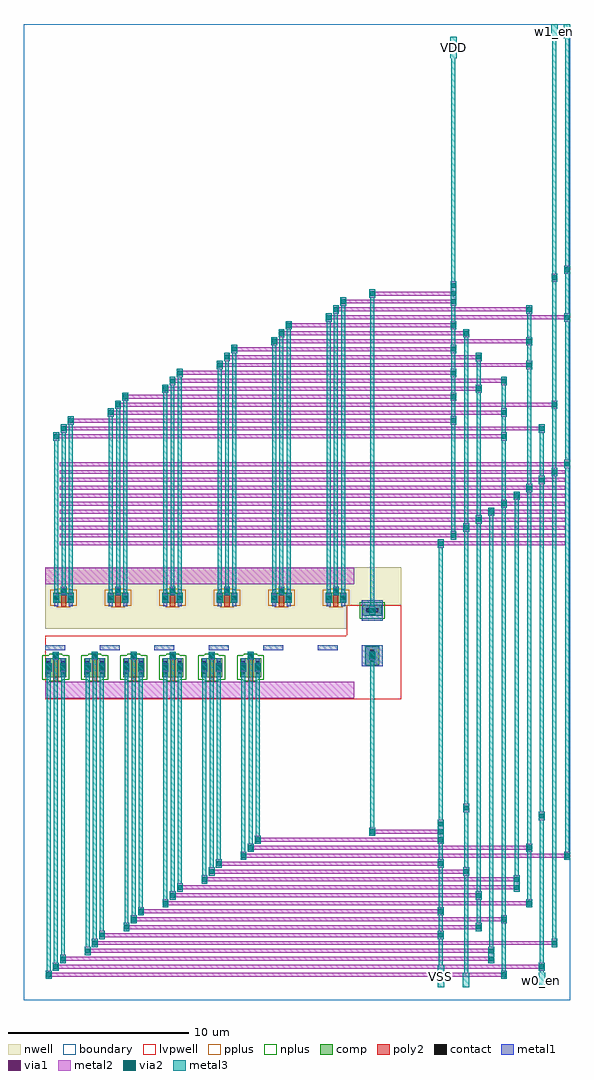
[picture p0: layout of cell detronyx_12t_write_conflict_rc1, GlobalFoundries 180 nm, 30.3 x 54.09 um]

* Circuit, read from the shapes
.subckt detronyx_12t_write_conflict_rc1 VDD VSS addr_eq w0_en w1_en write_conflict
XM1 n1 w0_en n2 VSS nfet_03v3 w=1.055u l=0.28u
XM2 VSS w1_en n1 VSS nfet_03v3 w=1.055u l=0.28u
XM3 VSS n2 n3 VSS nfet_03v3 w=1.055u l=0.28u
XM4 n4 n3 n5 VSS nfet_03v3 w=1.055u l=0.28u
XM5 VSS addr_eq n4 VSS nfet_03v3 w=1.055u l=0.28u
XM6 VSS n5 write_conflict VSS nfet_03v3 w=1.055u l=0.28u
XM7 VDD w0_en n2 VDD pfet_03v3 w=0.56u l=0.2779u
XM8 VDD w1_en n2 VDD pfet_03v3 w=0.56u l=0.2779u
XM9 VDD n2 n3 VDD pfet_03v3 w=0.56u l=0.2779u
XM10 VDD n3 n5 VDD pfet_03v3 w=0.56u l=0.2779u
XM11 VDD addr_eq n5 VDD pfet_03v3 w=0.56u l=0.2779u
XM12 VDD n5 write_conflict VDD pfet_03v3 w=0.56u l=0.2779u
.ends

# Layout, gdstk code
import gdstk
lib = gdstk.Library(unit=1e-6, precision=1e-09)
def R(c, l, rs):  # rectangles x0, y0, x1, y1
    for r in rs: c.add(gdstk.rectangle(r[:2], r[2:], *l))
def A(c, l, x, y, w, h, nx, ny, dx, dy):  # array of equal rectangles
    R(c, l, [(x+i*dx, y+j*dy, x+i*dx+w, y+j*dy+h) for i in range(nx) for j in range(ny)])
boundary = (0, 0)
nwell = (21, 0)
comp = (22, 0)
poly2 = (30, 0)
pplus = (31, 0)
nplus = (32, 0)
contact = (33, 0)
metal1 = (34, 0)
via1 = (35, 0)
metal2 = (36, 0)
via2 = (38, 0)
metal3 = (42, 0)
lvpwell = (204, 0)

detronyx_12t_write_confl = lib.new_cell('detronyx_12t_write_conflict_rc1')
R(detronyx_12t_write_confl, boundary, [(0,0,30.3,54.095)])
R(detronyx_12t_write_confl, nwell, [(1.2,20.575,17.92,21.88), (18.795,21.295,19.845,21.88), (1.2,21.88,20.92,23.995)])
A(detronyx_12t_write_confl, comp, 1.2, 17.9, 1.16, 1.055, 6, 1, 2.16, 0)
A(detronyx_12t_write_confl, comp, 1.63, 22.005, 1.16, 0.555, 6, 1, 3.02, 0)
R(detronyx_12t_write_confl, comp, [(18.945,18.555,19.695,19.605), (18.795,21.295,19.845,21.895), (1.63,22.56,2.095,22.565), (2.325,22.56,2.79,22.565), (4.65,22.56,5.115,22.565), (5.345,22.56,5.81,22.565), (7.67,22.56,8.135,22.565), (8.365,22.56,8.83,22.565), (10.69,22.56,11.155,22.565), (11.385,22.56,11.85,22.565), (13.71,22.56,14.175,22.565), (14.405,22.56,14.87,22.565), (16.73,22.56,17.195,22.565), (17.425,22.56,17.89,22.565)])
A(detronyx_12t_write_confl, poly2, 1.64, 17.68, 0.28, 1.55, 6, 1, 2.16, 0)
A(detronyx_12t_write_confl, poly2, 2.07, 21.785, 0.28, 1.04, 6, 1, 3.02, 0)
A(detronyx_12t_write_confl, pplus, 1.84, 21.775, 0.74, 0.07, 6, 2, 3.02, 0.95)
A(detronyx_12t_write_confl, pplus, 1.47, 21.845, 1.48, 0.88, 6, 1, 3.02, 0)
R(detronyx_12t_write_confl, pplus, [(18.925,18.535,19.715,19.625)])
A(detronyx_12t_write_confl, nplus, 1.41, 17.67, 0.74, 0.07, 6, 2, 2.16, 1.445)
A(detronyx_12t_write_confl, nplus, 1.04, 17.74, 1.48, 1.375, 6, 1, 2.16, 0)
R(detronyx_12t_write_confl, nplus, [(18.635,21.135,20.005,22.055)])
A(detronyx_12t_write_confl, contact, 1.67, 18.97, 0.22, 0.22, 6, 1, 2.16, 0)
A(detronyx_12t_write_confl, contact, 2.1, 22.565, 0.22, 0.22, 6, 1, 3.02, 0)
R(detronyx_12t_write_confl, contact, [(1.27,18.08,1.49,18.3), (2.07,18.08,2.29,18.3), (3.43,18.08,3.65,18.3), (4.23,18.08,4.45,18.3), (5.59,18.08,5.81,18.3), (6.39,18.08,6.61,18.3), (7.75,18.08,7.97,18.3), (8.55,18.08,8.77,18.3), (9.91,18.08,10.13,18.3), (10.71,18.08,10.93,18.3), (12.07,18.08,12.29,18.3), (12.87,18.08,13.09,18.3), (1.27,18.55,1.49,18.77), (2.07,18.55,2.29,18.77), (3.43,18.55,3.65,18.77), (4.23,18.55,4.45,18.77), (5.59,18.55,5.81,18.77), (6.39,18.55,6.61,18.77), (7.75,18.55,7.97,18.77), (8.55,18.55,8.77,18.77), (9.91,18.55,10.13,18.77), (10.71,18.55,10.93,18.77), (12.07,18.55,12.29,18.77), (12.87,18.55,13.09,18.77), (19.21,18.735,19.43,18.955), (19.21,19.205,19.43,19.425), (18.975,21.485,19.195,21.705), (19.445,21.485,19.665,21.705), (1.7,22.175,1.92,22.395), (2.5,22.175,2.72,22.395), (4.72,22.175,4.94,22.395), (5.52,22.175,5.74,22.395), (7.74,22.175,7.96,22.395), (8.54,22.175,8.76,22.395), (10.76,22.175,10.98,22.395), (11.56,22.175,11.78,22.395), (13.78,22.175,14,22.395), (14.58,22.175,14.8,22.395), (16.8,22.175,17.02,22.395), (17.6,22.175,17.82,22.395)])
A(detronyx_12t_write_confl, metal1, 1.62, 18.85, 0.325, 0.46, 6, 1, 2.16, 0)
A(detronyx_12t_write_confl, metal1, 1.2, 19.375, 1.1, 0.28, 6, 1, 3.02, 0)
A(detronyx_12t_write_confl, metal1, 2.05, 22.445, 0.325, 0.46, 6, 1, 3.02, 0)
R(detronyx_12t_write_confl, metal1, [(1.265,17.9,1.495,18.195), (2.065,17.9,2.295,18.195), (3.425,17.9,3.655,18.195), (4.225,17.9,4.455,18.195), (5.585,17.9,5.815,18.195), (6.385,17.9,6.615,18.195), (7.745,17.9,7.975,18.195), (8.545,17.9,8.775,18.195), (9.905,17.9,10.135,18.195), (10.705,17.9,10.935,18.195), (12.065,17.9,12.295,18.195), (12.865,17.9,13.095,18.195), (1.22,18.195,1.545,18.655), (2.02,18.195,2.345,18.655), (3.38,18.195,3.705,18.655), (4.18,18.195,4.505,18.655), (5.54,18.195,5.865,18.655), (6.34,18.195,6.665,18.655), (7.7,18.195,8.025,18.655), (8.5,18.195,8.825,18.655), (9.86,18.195,10.185,18.655), (10.66,18.195,10.985,18.655), (12.02,18.195,12.345,18.655), (12.82,18.195,13.145,18.655), (18.745,18.505,19.895,19.655), (1.265,18.655,1.495,18.955), (2.065,18.655,2.295,18.955), (3.425,18.655,3.655,18.955), (4.225,18.655,4.455,18.955), (5.585,18.655,5.815,18.955), (6.385,18.655,6.615,18.955), (7.745,18.655,7.975,18.955), (8.545,18.655,8.775,18.955), (9.905,18.655,10.135,18.955), (10.705,18.655,10.935,18.955), (12.065,18.655,12.295,18.955), (12.865,18.655,13.095,18.955), (18.745,21.02,19.895,22.17), (1.695,21.81,1.925,22.055), (2.495,21.81,2.725,22.055), (4.715,21.81,4.945,22.055), (5.515,21.81,5.745,22.055), (7.735,21.81,7.965,22.055), (8.535,21.81,8.765,22.055), (10.755,21.81,10.985,22.055), (11.555,21.81,11.785,22.055), (13.775,21.81,14.005,22.055), (14.575,21.81,14.805,22.055), (16.795,21.81,17.025,22.055), (17.595,21.81,17.825,22.055), (1.65,22.055,1.975,22.515), (2.45,22.055,2.775,22.515), (4.67,22.055,4.995,22.515), (5.47,22.055,5.795,22.515), (7.69,22.055,8.015,22.515), (8.49,22.055,8.815,22.515), (10.71,22.055,11.035,22.515), (11.51,22.055,11.835,22.515), (13.73,22.055,14.055,22.515), (14.53,22.055,14.855,22.515), (16.75,22.055,17.075,22.515), (17.55,22.055,17.875,22.515), (1.695,22.515,1.925,22.76), (2.495,22.515,2.725,22.76), (4.715,22.515,4.945,22.76), (5.515,22.515,5.745,22.76), (7.735,22.515,7.965,22.76), (8.535,22.515,8.765,22.76), (10.755,22.515,10.985,22.76), (11.555,22.515,11.785,22.76), (13.775,22.515,14.005,22.76), (14.575,22.515,14.805,22.76), (16.795,22.515,17.025,22.76), (17.595,22.515,17.825,22.76)])
A(detronyx_12t_write_confl, via1, 1.65, 18.95, 0.26, 0.26, 6, 1, 2.16, 0)
A(detronyx_12t_write_confl, via1, 2.08, 22.545, 0.26, 0.26, 6, 1, 3.02, 0)
R(detronyx_12t_write_confl, via1, [(1.25,18.295,1.51,18.555), (2.05,18.295,2.31,18.555), (3.41,18.295,3.67,18.555), (4.21,18.295,4.47,18.555), (5.57,18.295,5.83,18.555), (6.37,18.295,6.63,18.555), (7.73,18.295,7.99,18.555), (8.53,18.295,8.79,18.555), (9.89,18.295,10.15,18.555), (10.69,18.295,10.95,18.555), (12.05,18.295,12.31,18.555), (12.85,18.295,13.11,18.555), (19.19,18.95,19.45,19.21), (19.19,21.465,19.45,21.725), (1.68,22.155,1.94,22.415), (2.48,22.155,2.74,22.415), (4.7,22.155,4.96,22.415), (5.5,22.155,5.76,22.415), (7.72,22.155,7.98,22.415), (8.52,22.155,8.78,22.415), (10.74,22.155,11,22.415), (11.54,22.155,11.8,22.415), (13.76,22.155,14.02,22.415), (14.56,22.155,14.82,22.415), (16.78,22.155,17.04,22.415), (17.58,22.155,17.84,22.415)])
A(detronyx_12t_write_confl, metal2, 1.62, 18.85, 0.325, 0.46, 6, 1, 2.16, 0)
A(detronyx_12t_write_confl, metal2, 2.05, 22.445, 0.325, 0.46, 6, 1, 3.02, 0)
A(detronyx_12t_write_confl, metal2, 2, 25.195, 28.02, 0.22, 1, 10, 0, 0.44)
R(detronyx_12t_write_confl, metal2, [(1.22,1.17,1.545,1.29), (26.46,1.17,26.785,1.29), (1.22,1.29,26.785,1.51), (1.22,1.51,1.545,1.63), (26.46,1.51,26.785,1.63), (1.62,1.61,1.945,1.73), (28.56,1.61,28.885,1.73), (1.62,1.73,28.885,1.95), (1.62,1.95,1.945,2.07), (28.56,1.95,28.885,2.07), (2.02,2.05,2.345,2.17), (25.76,2.05,26.085,2.17), (2.02,2.17,26.085,2.39), (2.02,2.39,2.345,2.51), (25.76,2.39,26.085,2.61), (3.38,2.49,3.705,2.61), (3.38,2.61,26.085,2.83), (3.38,2.83,3.705,2.95), (25.76,2.83,26.085,2.95), (3.78,2.93,4.105,3.05), (29.26,2.93,29.585,3.05), (3.78,3.05,29.585,3.27), (3.78,3.27,4.105,3.39), (29.26,3.27,29.585,3.39), (4.18,3.37,4.505,3.49), (22.96,3.37,23.285,3.49), (4.18,3.49,23.285,3.71), (4.18,3.71,4.505,3.83), (22.96,3.71,23.285,3.83), (5.54,3.81,5.865,3.93), (25.06,3.81,25.385,3.93), (5.54,3.93,25.385,4.15), (5.54,4.15,5.865,4.27), (25.06,4.15,25.385,4.27), (5.94,4.25,6.265,4.37), (26.46,4.25,26.785,4.37), (5.94,4.37,26.785,4.59), (5.94,4.59,6.265,4.71), (26.46,4.59,26.785,4.71), (6.34,4.69,6.665,4.81), (22.96,4.69,23.285,4.81), (6.34,4.81,23.285,5.03), (6.34,5.03,6.665,5.15), (22.96,5.03,23.285,5.15), (7.7,5.13,8.025,5.25), (27.86,5.13,28.185,5.25), (7.7,5.25,28.185,5.47), (7.7,5.47,8.025,5.59), (27.86,5.47,28.185,5.59), (8.1,5.57,8.425,5.69), (25.06,5.57,25.385,5.69), (8.1,5.69,25.385,5.91), (8.1,5.91,8.425,6.03), (25.06,5.91,25.385,6.03), (8.5,6.01,8.825,6.13), (27.16,6.01,27.485,6.13), (8.5,6.13,27.485,6.35), (8.5,6.35,8.825,6.47), (27.16,6.35,27.485,6.57), (9.86,6.45,10.185,6.57), (9.86,6.57,27.485,6.79), (9.86,6.79,10.185,6.91), (27.16,6.79,27.485,6.91), (10.26,6.89,10.585,7.01), (24.36,6.89,24.685,7.01), (10.26,7.01,24.685,7.23), (10.26,7.23,10.585,7.35), (24.36,7.23,24.685,7.35), (10.66,7.33,10.985,7.45), (22.96,7.33,23.285,7.45), (10.66,7.45,23.285,7.67), (10.66,7.67,10.985,7.79), (22.96,7.67,23.285,7.79), (12.02,7.77,12.345,7.89), (29.96,7.77,30.285,7.89), (12.02,7.89,30.285,8.11), (12.02,8.11,12.345,8.23), (29.96,8.11,30.285,8.23), (12.42,8.21,12.745,8.33), (27.86,8.21,28.185,8.33), (12.42,8.33,28.185,8.55), (12.42,8.55,12.745,8.67), (27.86,8.55,28.185,8.67), (12.82,8.65,13.145,8.77), (22.96,8.65,23.285,8.77), (12.82,8.77,23.285,8.99), (12.82,8.99,13.145,9.11), (22.96,8.99,23.285,9.21), (19.16,9.09,19.485,9.21), (19.16,9.21,23.285,9.43), (19.16,9.43,19.485,9.55), (22.96,9.43,23.285,9.99), (28.56,9.97,28.885,10.43), (24.36,10.41,24.685,10.87), (1.2,16.73,18.32,17.63), (1.22,18.195,1.545,18.655), (2.02,18.195,2.345,18.655), (3.38,18.195,3.705,18.655), (4.18,18.195,4.505,18.655), (5.54,18.195,5.865,18.655), (6.34,18.195,6.665,18.655), (7.7,18.195,8.025,18.655), (8.5,18.195,8.825,18.655), (9.86,18.195,10.185,18.655), (10.66,18.195,10.985,18.655), (12.02,18.195,12.345,18.655), (12.82,18.195,13.145,18.655), (19.16,18.85,19.485,19.31), (19.16,21.365,19.485,21.825), (1.65,22.055,1.975,22.515), (2.45,22.055,2.775,22.515), (4.67,22.055,4.995,22.515), (5.47,22.055,5.795,22.515), (7.69,22.055,8.015,22.515), (8.49,22.055,8.815,22.515), (10.71,22.055,11.035,22.515), (11.51,22.055,11.835,22.515), (13.73,22.055,14.055,22.515), (14.53,22.055,14.855,22.515), (16.75,22.055,17.075,22.515), (17.55,22.055,17.875,22.515), (1.2,23.045,18.32,23.945), (22.96,25.075,23.285,25.195), (22.96,25.415,23.285,25.535), (23.66,25.515,23.985,25.635), (23.66,25.855,23.985,25.975), (24.36,25.955,24.685,26.075), (24.36,26.295,24.685,26.415), (25.06,26.395,25.385,26.515), (25.06,26.735,25.385,26.855), (25.76,26.835,26.085,26.955), (25.76,27.175,26.085,27.295), (26.46,27.275,26.785,27.395), (26.46,27.615,26.785,27.735), (27.16,27.715,27.485,27.835), (27.16,28.055,27.485,28.175), (27.86,28.155,28.185,28.275), (27.86,28.495,28.185,28.615), (28.56,28.595,28.885,28.715), (28.56,28.935,28.885,29.055), (29.26,29.035,29.585,29.155), (29.26,29.375,29.585,29.495), (29.96,29.475,30.285,29.595), (2,29.595,30.285,29.815), (29.96,29.815,30.285,29.935), (1.65,31.005,1.975,31.125), (26.46,31.005,26.785,31.125), (1.65,31.125,26.785,31.345), (1.65,31.345,1.975,31.465), (26.46,31.345,26.785,31.465), (2.05,31.445,2.375,31.565), (28.56,31.445,28.885,31.565), (2.05,31.565,28.885,31.785), (2.05,31.785,2.375,31.905), (28.56,31.785,28.885,31.905), (2.45,31.885,2.775,32.005), (23.66,31.885,23.985,32.005), (2.45,32.005,23.985,32.225), (2.45,32.225,2.775,32.345), (23.66,32.225,23.985,32.345), (4.67,32.325,4.995,32.445), (26.46,32.325,26.785,32.445), (4.67,32.445,26.785,32.665), (4.67,32.665,4.995,32.785), (26.46,32.665,26.785,32.785), (5.07,32.765,5.395,32.885), (29.26,32.765,29.585,32.885), (5.07,32.885,29.585,33.105), (5.07,33.105,5.395,33.225), (29.26,33.105,29.585,33.225), (5.47,33.205,5.795,33.325), (23.66,33.205,23.985,33.325), (5.47,33.325,23.985,33.545), (5.47,33.545,5.795,33.665), (23.66,33.545,23.985,33.665), (7.69,33.645,8.015,33.765), (25.06,33.645,25.385,33.765), (7.69,33.765,25.385,33.985), (7.69,33.985,8.015,34.105), (25.06,33.985,25.385,34.105), (8.09,34.085,8.415,34.205), (26.46,34.085,26.785,34.205), (8.09,34.205,26.785,34.425), (8.09,34.425,8.415,34.545), (26.46,34.425,26.785,34.545), (8.49,34.525,8.815,34.645), (23.66,34.525,23.985,34.645), (8.49,34.645,23.985,34.865), (8.49,34.865,8.815,34.985), (23.66,34.865,23.985,34.985), (10.71,34.965,11.035,35.085), (27.86,34.965,28.185,35.085), (10.71,35.085,28.185,35.305), (10.71,35.305,11.035,35.425), (27.86,35.305,28.185,35.425), (11.11,35.405,11.435,35.525), (25.06,35.405,25.385,35.525), (11.11,35.525,25.385,35.745), (11.11,35.745,11.435,35.865), (25.06,35.745,25.385,35.865), (11.51,35.845,11.835,35.965), (23.66,35.845,23.985,35.965), (11.51,35.965,23.985,36.185), (11.51,36.185,11.835,36.305), (23.66,36.185,23.985,36.305), (13.73,36.285,14.055,36.405), (27.86,36.285,28.185,36.405), (13.73,36.405,28.185,36.625), (13.73,36.625,14.055,36.745), (27.86,36.625,28.185,36.745), (14.13,36.725,14.455,36.845), (24.36,36.725,24.685,36.845), (14.13,36.845,24.685,37.065), (14.13,37.065,14.455,37.185), (24.36,37.065,24.685,37.185), (14.53,37.165,14.855,37.285), (23.66,37.165,23.985,37.285), (14.53,37.285,23.985,37.505), (14.53,37.505,14.855,37.625), (23.66,37.505,23.985,37.625), (16.75,37.605,17.075,37.725), (29.96,37.605,30.285,37.725), (16.75,37.725,30.285,37.945), (16.75,37.945,17.075,38.065), (29.96,37.945,30.285,38.065), (17.15,38.045,17.475,38.165), (27.86,38.045,28.185,38.165), (17.15,38.165,28.185,38.385), (17.15,38.385,17.475,38.505), (27.86,38.385,28.185,38.505), (17.55,38.485,17.875,38.605), (23.66,38.485,23.985,38.605), (17.55,38.605,23.985,38.825), (17.55,38.825,17.875,38.945), (23.66,38.825,23.985,39.045), (19.16,38.925,19.485,39.045), (19.16,39.045,23.985,39.265), (19.16,39.265,19.485,39.385), (23.66,39.265,23.985,39.825), (29.26,39.805,29.585,40.265), (29.96,40.245,30.285,40.705)])
A(detronyx_12t_write_confl, via2, 22.99, 8.75, 0.26, 0.26, 1, 3, 0, 0.44)
A(detronyx_12t_write_confl, via2, 1.65, 18.95, 0.26, 0.26, 6, 1, 2.16, 0)
A(detronyx_12t_write_confl, via2, 2.08, 22.545, 0.26, 0.26, 6, 1, 3.02, 0)
A(detronyx_12t_write_confl, via2, 23.69, 31.985, 0.26, 0.26, 1, 6, 0, 1.32)
R(detronyx_12t_write_confl, via2, [(1.25,1.27,1.51,1.53), (26.49,1.27,26.75,1.53), (1.65,1.71,1.91,1.97), (28.59,1.71,28.85,1.97), (2.05,2.15,2.31,2.41), (25.79,2.15,26.05,2.41), (3.41,2.59,3.67,2.85), (25.79,2.59,26.05,2.85), (3.81,3.03,4.07,3.29), (29.29,3.03,29.55,3.29), (4.21,3.47,4.47,3.73), (22.99,3.47,23.25,3.73), (5.57,3.91,5.83,4.17), (25.09,3.91,25.35,4.17), (5.97,4.35,6.23,4.61), (26.49,4.35,26.75,4.61), (6.37,4.79,6.63,5.05), (22.99,4.79,23.25,5.05), (7.73,5.23,7.99,5.49), (27.89,5.23,28.15,5.49), (8.13,5.67,8.39,5.93), (25.09,5.67,25.35,5.93), (8.53,6.11,8.79,6.37), (27.19,6.11,27.45,6.37), (9.89,6.55,10.15,6.81), (27.19,6.55,27.45,6.81), (10.29,6.99,10.55,7.25), (24.39,6.99,24.65,7.25), (10.69,7.43,10.95,7.69), (22.99,7.43,23.25,7.69), (12.05,7.87,12.31,8.13), (29.99,7.87,30.25,8.13), (12.45,8.31,12.71,8.57), (27.89,8.31,28.15,8.57), (12.85,8.75,13.11,9.01), (19.19,9.19,19.45,9.45), (28.59,10.07,28.85,10.33), (24.39,10.51,24.65,10.77), (1.25,18.295,1.51,18.555), (2.05,18.295,2.31,18.555), (3.41,18.295,3.67,18.555), (4.21,18.295,4.47,18.555), (5.57,18.295,5.83,18.555), (6.37,18.295,6.63,18.555), (7.73,18.295,7.99,18.555), (8.53,18.295,8.79,18.555), (9.89,18.295,10.15,18.555), (10.69,18.295,10.95,18.555), (12.05,18.295,12.31,18.555), (12.85,18.295,13.11,18.555), (19.19,18.95,19.45,19.21), (19.19,21.465,19.45,21.725), (1.68,22.155,1.94,22.415), (2.48,22.155,2.74,22.415), (4.7,22.155,4.96,22.415), (5.5,22.155,5.76,22.415), (7.72,22.155,7.98,22.415), (8.52,22.155,8.78,22.415), (10.74,22.155,11,22.415), (11.54,22.155,11.8,22.415), (13.76,22.155,14.02,22.415), (14.56,22.155,14.82,22.415), (16.78,22.155,17.04,22.415), (17.58,22.155,17.84,22.415), (22.99,25.175,23.25,25.435), (23.69,25.615,23.95,25.875), (24.39,26.055,24.65,26.315), (25.09,26.495,25.35,26.755), (25.79,26.935,26.05,27.195), (26.49,27.375,26.75,27.635), (27.19,27.815,27.45,28.075), (27.89,28.255,28.15,28.515), (28.59,28.695,28.85,28.955), (29.29,29.135,29.55,29.395), (29.99,29.575,30.25,29.835), (1.68,31.105,1.94,31.365), (26.49,31.105,26.75,31.365), (2.08,31.545,2.34,31.805), (28.59,31.545,28.85,31.805), (2.48,31.985,2.74,32.245), (4.7,32.425,4.96,32.685), (26.49,32.425,26.75,32.685), (5.1,32.865,5.36,33.125), (29.29,32.865,29.55,33.125), (5.5,33.305,5.76,33.565), (7.72,33.745,7.98,34.005), (25.09,33.745,25.35,34.005), (8.12,34.185,8.38,34.445), (26.49,34.185,26.75,34.445), (8.52,34.625,8.78,34.885), (10.74,35.065,11,35.325), (27.89,35.065,28.15,35.325), (11.14,35.505,11.4,35.765), (25.09,35.505,25.35,35.765), (11.54,35.945,11.8,36.205), (13.76,36.385,14.02,36.645), (27.89,36.385,28.15,36.645), (14.16,36.825,14.42,37.085), (24.39,36.825,24.65,37.085), (14.56,37.265,14.82,37.525), (16.78,37.705,17.04,37.965), (29.99,37.705,30.25,37.965), (17.18,38.145,17.44,38.405), (27.89,38.145,28.15,38.405), (17.58,38.585,17.84,38.845), (19.19,39.025,19.45,39.285), (23.69,39.025,23.95,39.285), (23.69,39.465,23.95,39.725), (29.29,39.905,29.55,40.165), (29.99,40.345,30.25,40.605)])
A(detronyx_12t_write_confl, metal3, 1.62, 18.85, 0.325, 0.46, 6, 1, 2.16, 0)
A(detronyx_12t_write_confl, metal3, 2.05, 22.445, 0.325, 0.46, 6, 1, 3.02, 0)
A(detronyx_12t_write_confl, metal3, 23.66, 31.885, 0.325, 0.46, 1, 5, 0, 1.32)
A(detronyx_12t_write_confl, metal3, 23.71, 32.345, 0.22, 0.86, 1, 5, 0, 1.32)
R(detronyx_12t_write_confl, metal3, [(22.94,0.7,23.3,1.9), (24.34,0.7,24.7,1.5), (28.54,0.7,28.9,1.5), (1.22,1.17,1.545,1.63), (26.46,1.17,26.785,1.63), (24.41,1.5,24.63,6.89), (28.61,1.5,28.83,1.61), (1.62,1.61,1.945,2.07), (28.56,1.61,28.885,2.07), (1.27,1.63,1.49,18.195), (26.51,1.63,26.73,4.25), (23.01,1.9,23.23,3.37), (2.02,2.05,2.345,2.51), (25.76,2.05,26.085,2.95), (1.67,2.07,1.89,18.85), (28.61,2.07,28.83,9.97), (3.38,2.49,3.705,2.95), (2.07,2.51,2.29,18.195), (3.78,2.93,4.105,3.39), (29.26,2.93,29.585,3.39), (3.43,2.95,3.65,18.195), (25.81,2.95,26.03,26.835), (4.18,3.37,4.505,3.83), (22.96,3.37,23.285,3.83), (3.83,3.39,4.05,18.85), (29.31,3.39,29.53,29.035), (5.54,3.81,5.865,4.27), (25.06,3.81,25.385,4.27), (4.23,3.83,4.45,18.195), (23.01,3.83,23.23,4.69), (5.94,4.25,6.265,4.71), (26.46,4.25,26.785,4.71), (5.59,4.27,5.81,18.195), (25.11,4.27,25.33,5.57), (6.34,4.69,6.665,5.15), (22.96,4.69,23.285,5.15), (5.99,4.71,6.21,18.85), (26.51,4.71,26.73,27.275), (7.7,5.13,8.025,5.59), (27.86,5.13,28.185,5.59), (6.39,5.15,6.61,18.195), (23.01,5.15,23.23,7.33), (8.1,5.57,8.425,6.03), (25.06,5.57,25.385,6.03), (7.75,5.59,7.97,18.195), (27.91,5.59,28.13,8.21), (8.5,6.01,8.825,6.47), (27.16,6.01,27.485,6.91), (8.15,6.03,8.37,18.85), (25.11,6.03,25.33,26.395), (9.86,6.45,10.185,6.91), (8.55,6.47,8.77,18.195), (10.26,6.89,10.585,7.35), (24.36,6.89,24.685,7.35), (9.91,6.91,10.13,18.195), (27.21,6.91,27.43,27.715), (10.66,7.33,10.985,7.79), (22.96,7.33,23.285,7.79), (10.31,7.35,10.53,18.85), (24.41,7.35,24.63,10.41), (12.02,7.77,12.345,8.23), (29.96,7.77,30.285,8.23), (10.71,7.79,10.93,18.195), (23.01,7.79,23.23,8.65), (12.42,8.21,12.745,8.67), (27.86,8.21,28.185,8.67), (12.07,8.23,12.29,18.195), (30.01,8.23,30.23,29.475), (12.82,8.65,13.145,9.11), (22.96,8.65,23.285,9.99), (12.47,8.67,12.69,18.85), (27.91,8.67,28.13,28.155), (19.16,9.09,19.485,9.55), (12.87,9.11,13.09,18.195), (19.21,9.55,19.43,18.85), (28.56,9.97,28.885,10.43), (23.01,9.99,23.23,25.075), (24.36,10.41,24.685,10.87), (28.61,10.43,28.83,28.595), (24.41,10.87,24.63,25.955), (1.22,18.195,1.545,18.655), (2.02,18.195,2.345,18.655), (3.38,18.195,3.705,18.655), (4.18,18.195,4.505,18.655), (5.54,18.195,5.865,18.655), (6.34,18.195,6.665,18.655), (7.7,18.195,8.025,18.655), (8.5,18.195,8.825,18.655), (9.86,18.195,10.185,18.655), (10.66,18.195,10.985,18.655), (12.02,18.195,12.345,18.655), (12.82,18.195,13.145,18.655), (19.16,18.85,19.485,19.31), (19.16,21.365,19.485,21.825), (19.21,21.825,19.43,38.925), (1.65,22.055,1.975,22.515), (2.45,22.055,2.775,22.515), (4.67,22.055,4.995,22.515), (5.47,22.055,5.795,22.515), (7.69,22.055,8.015,22.515), (8.49,22.055,8.815,22.515), (10.71,22.055,11.035,22.515), (11.51,22.055,11.835,22.515), (13.73,22.055,14.055,22.515), (14.53,22.055,14.855,22.515), (16.75,22.055,17.075,22.515), (17.55,22.055,17.875,22.515), (1.7,22.515,1.92,31.005), (2.5,22.515,2.72,31.885), (4.72,22.515,4.94,32.325), (5.52,22.515,5.74,33.205), (7.74,22.515,7.96,33.645), (8.54,22.515,8.76,34.525), (10.76,22.515,10.98,34.965), (11.56,22.515,11.78,35.845), (13.78,22.515,14,36.285), (14.58,22.515,14.8,37.165), (16.8,22.515,17.02,37.605), (17.6,22.515,17.82,38.485), (2.1,22.905,2.32,31.445), (5.12,22.905,5.34,32.765), (8.14,22.905,8.36,34.085), (11.16,22.905,11.38,35.405), (14.18,22.905,14.4,36.725), (17.2,22.905,17.42,38.045), (22.96,25.075,23.285,25.535), (23.66,25.515,23.985,25.975), (24.36,25.955,24.685,26.415), (23.71,25.975,23.93,31.885), (25.06,26.395,25.385,26.855), (24.41,26.415,24.63,36.725), (25.76,26.835,26.085,27.295), (25.11,26.855,25.33,33.645), (26.46,27.275,26.785,27.735), (27.16,27.715,27.485,28.175), (26.51,27.735,26.73,31.005), (27.86,28.155,28.185,28.615), (28.56,28.595,28.885,29.055), (27.91,28.615,28.13,34.965), (29.26,29.035,29.585,29.495), (28.61,29.055,28.83,31.445), (29.96,29.475,30.285,29.935), (29.31,29.495,29.53,32.765), (30.01,29.935,30.23,37.605), (1.65,31.005,1.975,31.465), (26.46,31.005,26.785,31.465), (2.05,31.445,2.375,31.905), (28.56,31.445,28.885,31.905), (26.51,31.465,26.73,32.325), (2.45,31.885,2.775,32.345), (4.67,32.325,4.995,32.785), (26.46,32.325,26.785,32.785), (5.07,32.765,5.395,33.225), (29.26,32.765,29.585,33.225), (26.51,32.785,26.73,34.085), (5.47,33.205,5.795,33.665), (29.31,33.225,29.53,39.805), (7.69,33.645,8.015,34.105), (25.06,33.645,25.385,34.105), (8.09,34.085,8.415,34.545), (26.46,34.085,26.785,34.545), (25.11,34.105,25.33,35.405), (8.49,34.525,8.815,34.985), (10.71,34.965,11.035,35.425), (27.86,34.965,28.185,35.425), (11.11,35.405,11.435,35.865), (25.06,35.405,25.385,35.865), (27.91,35.425,28.13,36.285), (11.51,35.845,11.835,36.305), (13.73,36.285,14.055,36.745), (27.86,36.285,28.185,36.745), (14.13,36.725,14.455,37.185), (24.36,36.725,24.685,37.185), (27.91,36.745,28.13,38.045), (14.53,37.165,14.855,37.625), (16.75,37.605,17.075,38.065), (29.96,37.605,30.285,38.065), (17.15,38.045,17.475,38.505), (27.86,38.045,28.185,38.505), (30.01,38.065,30.23,40.245), (17.55,38.485,17.875,38.945), (23.66,38.485,23.985,39.825), (19.16,38.925,19.485,39.385), (29.26,39.805,29.585,40.265), (23.71,39.825,23.93,52.195), (29.96,40.245,30.285,40.705), (29.31,40.265,29.53,53.295), (30.01,40.705,30.23,53.295), (23.64,52.195,24,53.395), (29.24,53.295,29.6,54.095), (29.94,53.295,30.3,54.095)])
R(detronyx_12t_write_confl, lvpwell, [(1.2,16.68,20.92,20.175), (17.92,20.175,20.92,21.88)])
detronyx_12t_write_confl.add(gdstk.Label('VDD', (23.82,52.795), layer=42, texttype=10))
detronyx_12t_write_confl.add(gdstk.Label('VSS', (23.12,1.3), layer=42, texttype=10))
detronyx_12t_write_confl.add(gdstk.Label('w0_en', (28.72,1.1), layer=42, texttype=10))
detronyx_12t_write_confl.add(gdstk.Label('w1_en', (29.42,53.695), layer=42, texttype=10))
detronyx_12t_write_confl.add(gdstk.Label('addr_eq', (24.52,1.1), layer=42, texttype=10))
detronyx_12t_write_confl.add(gdstk.Label('write_conflict', (30.12,53.695), layer=42, texttype=10))

lib.write_gds('detronyx_12t_write_conflict_rc1.gds')
